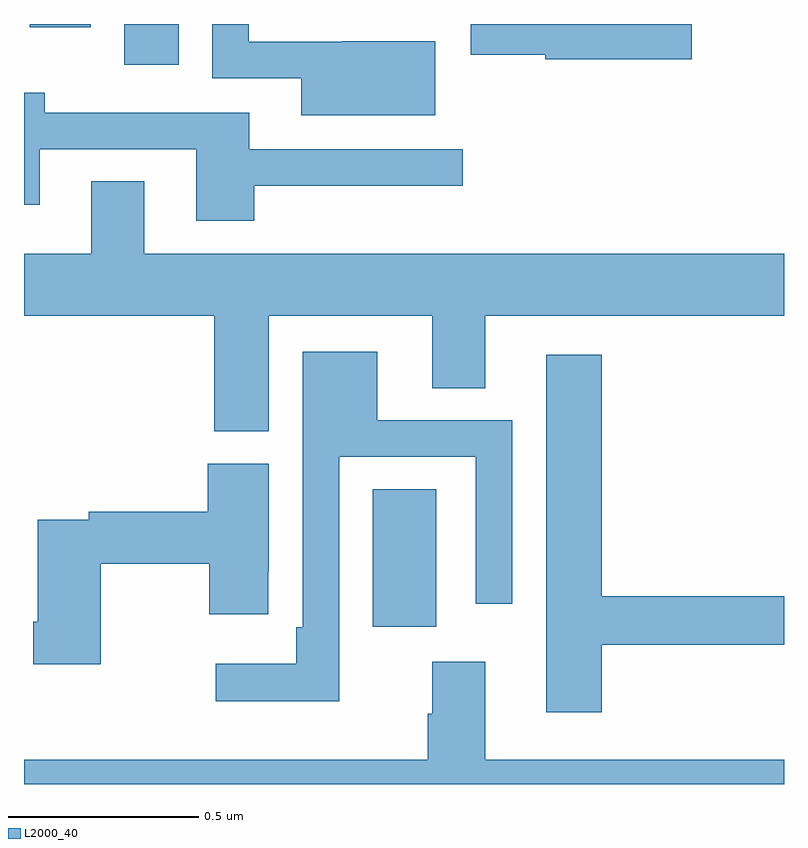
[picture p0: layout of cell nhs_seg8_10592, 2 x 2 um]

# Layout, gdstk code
import gdstk
lib = gdstk.Library(unit=1e-6, precision=1e-09)
def R(c, l, rs):  # rectangles x0, y0, x1, y1
    for r in rs: c.add(gdstk.rectangle(r[:2], r[2:], *l))
def P(c, l, *ps):  # polygons
    for p in ps: c.add(gdstk.Polygon(p, *l))
L2000_40 = (2000, 40)

nhs_seg8_10592 = lib.new_cell('nhs_seg8_10592')
R(nhs_seg8_10592, L2000_40, [(251.918,1150.314,252.085,1150.676), (251.264,1151.793,251.407,1151.9), (251.015,1151.892,251.176,1151.9)])
P(nhs_seg8_10592, L2000_40, [(252.082,1151.854),(251.838,1151.854),(251.838,1151.853),(251.592,1151.853),(251.592,1151.9),(251.496,1151.9),(251.496,1151.757),(251.729,1151.757),(251.729,1151.66),(252.082,1151.66)],
  [(252.757,1151.9),(252.176,1151.9),(252.176,1151.819),(252.372,1151.819),(252.372,1151.807),(252.757,1151.807)],
  [(251.606,1151.474),(252.154,1151.474),(252.154,1151.571),(251.593,1151.571),(251.593,1151.667),(251.054,1151.667),(251.054,1151.719),(251,1151.719),(251,1151.424),(251.041,1151.424),(251.041,1151.571),(251.453,1151.571),(251.453,1151.382),(251.606,1151.382)],
  [(251.644,1151.132),(252.074,1151.132),(252.074,1150.942),(252.214,1150.942),(252.214,1151.132),(253,1151.132),(253,1151.296),(251.317,1151.296),(251.317,1151.486),(251.177,1151.486),(251.177,1151.296),(251,1151.296),(251,1151.132),(251.501,1151.132),(251.501,1150.828),(251.644,1150.828)],
  [(251.829,1150.761),(252.189,1150.761),(252.189,1150.374),(252.285,1150.374),(252.285,1150.857),(251.929,1150.857),(251.929,1151.038),(251.733,1151.038),(251.733,1150.312),(251.717,1150.312),(251.717,1150.216),(251.505,1150.216),(251.505,1150.118),(251.829,1150.118)],
  [(252.521,1150.266),(253,1150.266),(253,1150.394),(252.521,1150.394),(252.521,1151.029),(252.374,1151.029),(252.374,1150.089),(252.521,1150.089)],
  [(251.202,1150.48),(251.488,1150.48),(251.488,1150.347),(251.643,1150.347),(251.643,1150.459),(251.644,1150.459),(251.644,1150.743),(251.483,1150.743),(251.483,1150.616),(251.17,1150.616),(251.17,1150.596),(251.036,1150.596),(251.036,1150.327),(251.024,1150.327),(251.024,1150.215),(251.202,1150.215)],
  [(253,1149.964),(252.214,1149.964),(252.214,1150.222),(252.074,1150.222),(252.074,1150.085),(252.062,1150.085),(252.062,1149.964),(251,1149.964),(251,1149.9),(253,1149.9)])

lib.write_gds('nhs_seg8_10592.gds')
